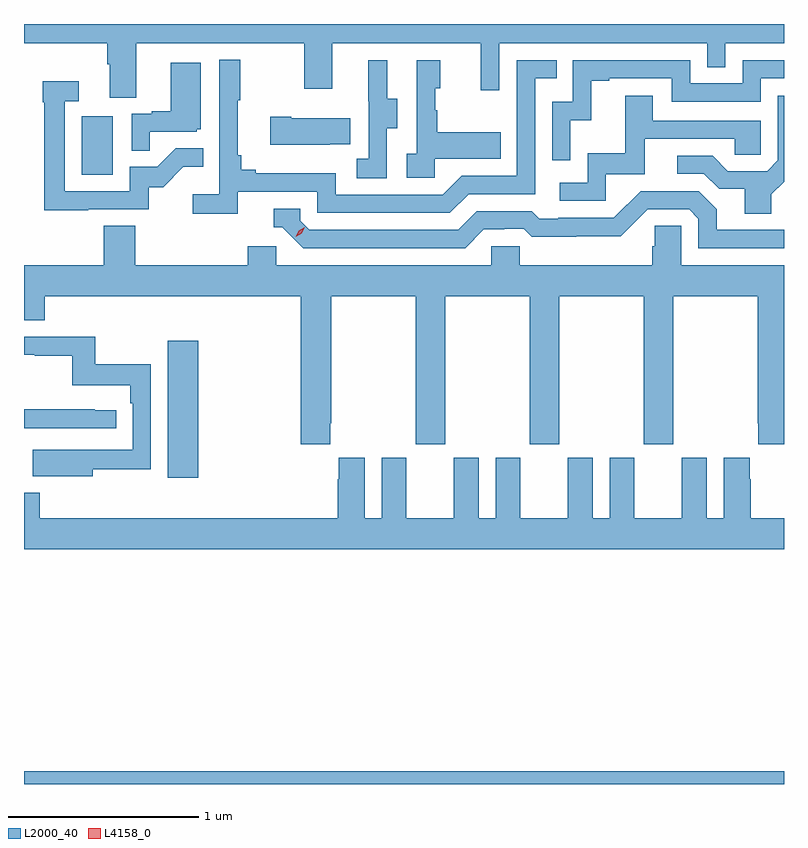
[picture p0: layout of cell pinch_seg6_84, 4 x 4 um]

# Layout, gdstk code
import gdstk
lib = gdstk.Library(unit=1e-6, precision=1e-09)
def R(c, l, rs):  # rectangles x0, y0, x1, y1
    for r in rs: c.add(gdstk.rectangle(r[:2], r[2:], *l))
def P(c, l, *ps):  # polygons
    for p in ps: c.add(gdstk.Polygon(p, *l))
L2000_40 = (2000, 40)
L4158_0 = (4158, 0)

pinch_seg6_84 = lib.new_cell('pinch_seg6_84')
R(pinch_seg6_84, L2000_40, [(935.578,924.789,939.578,924.856), (936.335,926.4,936.496,927.121), (935.882,927.996,936.046,928.303)])
P(pinch_seg6_84, L2000_40, [(936.169,928.688),(937.054,928.688),(937.054,928.449),(937.201,928.449),(937.201,928.688),(937.982,928.688),(937.982,928.44),(938.079,928.44),(938.079,928.688),(939.174,928.688),(939.174,928.561),(939.27,928.561),(939.27,928.688),(939.578,928.688),(939.578,928.789),(935.578,928.789),(935.578,928.688),(936.017,928.688),(936.017,928.576),(936.029,928.576),(936.029,928.402),(936.169,928.402)],
  [(936.704,927.906),(937.122,927.906),(937.122,927.795),(937.819,927.795),(937.918,927.894),(938.268,927.894),(938.268,928.503),(938.381,928.503),(938.381,928.599),(938.172,928.599),(938.172,927.99),(937.881,927.99),(937.782,927.891),(937.218,927.891),(937.218,928.003),(936.799,928.003),(936.799,928.022),(936.722,928.022),(936.722,928.099),(936.703,928.099),(936.703,928.387),(936.715,928.387),(936.715,928.6),(936.606,928.6),(936.606,927.892),(936.465,927.892),(936.465,927.79),(936.704,927.79)],
  [(938.454,928.283),(938.564,928.283),(938.564,928.491),(938.659,928.491),(938.659,928.503),(938.988,928.503),(938.988,928.38),(939.456,928.38),(939.456,928.503),(939.578,928.503),(939.578,928.599),(939.36,928.599),(939.36,928.476),(939.084,928.476),(939.084,928.599),(938.466,928.599),(938.466,928.38),(938.358,928.38),(938.358,928.071),(938.454,928.071)],
  [(937.488,928.24),(937.543,928.24),(937.543,928.395),(937.489,928.395),(937.489,928.597),(937.391,928.597),(937.391,928.383),(937.392,928.383),(937.392,928.079),(937.329,928.079),(937.329,927.976),(937.488,927.976)],
  [(937.74,928.079),(938.087,928.079),(938.087,928.219),(937.753,928.219),(937.753,928.334),(937.743,928.334),(937.743,928.452),(937.768,928.452),(937.768,928.597),(937.644,928.597),(937.644,928.106),(937.593,928.106),(937.593,927.981),(937.74,927.981)],
  [(936.239,928.221),(936.486,928.221),(936.486,928.236),(936.508,928.236),(936.508,928.585),(936.35,928.585),(936.35,928.33),(936.251,928.33),(936.251,928.317),(936.144,928.317),(936.144,928.123),(936.239,928.123)],
  [(935.915,927.813),(936.234,927.813),(936.234,927.93),(936.31,927.93),(936.417,928.037),(936.521,928.037),(936.521,928.136),(936.377,928.136),(936.279,928.038),(936.135,928.038),(936.135,927.909),(935.793,927.909),(935.793,928.383),(935.866,928.383),(935.866,928.489),(935.677,928.489),(935.677,928.376),(935.685,928.376),(935.685,927.808),(935.915,927.808)],
  [(938.64,927.999),(938.845,927.999),(938.845,928.185),(939.319,928.185),(939.319,928.101),(939.456,928.101),(939.456,928.281),(938.887,928.281),(938.887,928.411),(938.743,928.411),(938.743,928.108),(938.544,928.108),(938.544,927.954),(938.397,927.954),(938.397,927.858),(938.64,927.858)],
  [(939.511,927.892),(939.578,927.959),(939.578,928.411),(939.546,928.411),(939.546,928.071),(939.489,928.014),(939.283,928.014),(939.202,928.095),(939.015,928.095),(939.015,928.002),(939.156,928.002),(939.236,927.922),(939.371,927.922),(939.371,927.79),(939.511,927.79)],
  [(937.187,928.157),(937.295,928.157),(937.295,928.294),(936.985,928.294),(936.985,928.302),(936.873,928.302),(936.873,928.154),(937.187,928.154)],
  [(937.999,927.708),(938.106,927.708),(938.106,927.711),(938.209,927.711),(938.251,927.669),(938.484,927.669),(938.484,927.671),(938.72,927.671),(938.862,927.813),(939.078,927.813),(939.126,927.765),(939.126,927.609),(939.578,927.609),(939.578,927.705),(939.223,927.705),(939.223,927.815),(939.129,927.909),(938.823,927.909),(938.682,927.768),(938.389,927.768),(938.389,927.765),(938.29,927.765),(938.251,927.804),(937.962,927.804),(937.863,927.705),(937.08,927.705),(937.032,927.753),(937.032,927.816),(936.893,927.816),(936.893,927.72),(936.936,927.72),(937.047,927.609),(937.9,927.609)],
  [(937.189,926.689),(937.194,926.689),(937.194,927.356),(937.639,927.356),(937.639,926.577),(937.794,926.577),(937.794,927.356),(938.239,927.356),(938.239,926.577),(938.394,926.577),(938.394,927.356),(938.839,927.356),(938.839,926.577),(938.994,926.577),(938.994,927.356),(939.439,927.356),(939.439,926.689),(939.443,926.689),(939.443,926.577),(939.578,926.577),(939.578,927.52),(939.036,927.52),(939.036,927.728),(938.899,927.728),(938.899,927.618),(938.885,927.618),(938.885,927.52),(938.187,927.52),(938.187,927.618),(938.037,927.618),(938.037,927.52),(936.906,927.52),(936.906,927.618),(936.755,927.618),(936.755,927.52),(936.164,927.52),(936.164,927.728),(935.999,927.728),(935.999,927.52),(935.578,927.52),(935.578,927.229),(935.687,927.229),(935.687,927.356),(937.034,927.356),(937.034,926.577),(937.189,926.577)],
  [(935.941,926.446),(936.246,926.446),(936.246,926.998),(935.953,926.998),(935.953,927.144),(935.578,927.144),(935.578,927.048),(935.635,927.048),(935.635,927.043),(935.832,927.043),(935.832,926.888),(936.137,926.888),(936.137,926.792),(936.15,926.792),(936.15,926.547),(935.837,926.547),(935.837,926.548),(935.623,926.548),(935.623,926.408),(935.941,926.408)],
  [(936.064,926.757),(935.951,926.757),(935.951,926.762),(935.578,926.762),(935.578,926.661),(936.064,926.661)],
  [(939.578,926.188),(939.404,926.188),(939.404,926.393),(939.397,926.393),(939.397,926.506),(939.26,926.506),(939.26,926.188),(939.172,926.188),(939.172,926.506),(939.041,926.506),(939.041,926.188),(938.791,926.188),(938.791,926.506),(938.66,926.506),(938.66,926.188),(938.572,926.188),(938.572,926.506),(938.441,926.506),(938.441,926.188),(938.191,926.188),(938.191,926.506),(938.06,926.506),(938.06,926.188),(937.972,926.188),(937.972,926.506),(937.841,926.506),(937.841,926.188),(937.591,926.188),(937.591,926.506),(937.46,926.506),(937.46,926.188),(937.372,926.188),(937.372,926.506),(937.235,926.506),(937.235,926.393),(937.229,926.393),(937.229,926.188),(935.66,926.188),(935.66,926.323),(935.578,926.323),(935.578,926.024),(939.578,926.024)])
P(pinch_seg6_84, L4158_0, [(937.008,927.668),(937.008,927.668),(937.024,927.701),(937.055,927.72),(937.055,927.72),(937.055,927.72),(937.039,927.687),(937.008,927.668)])

lib.write_gds('pinch_seg6_84.gds')
